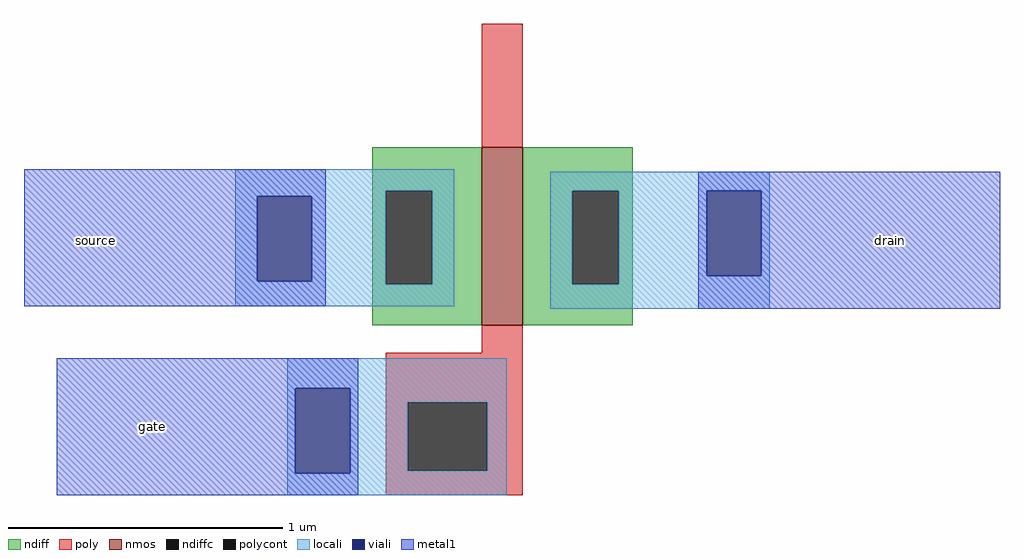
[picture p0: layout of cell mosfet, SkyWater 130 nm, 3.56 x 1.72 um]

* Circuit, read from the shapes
.subckt mosfet drain gate source
XM1 drain gate source VSUBS sky130_fd_pr__nfet_01v8 w=0.65 l=0.15
.ends

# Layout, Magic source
magic
tech sky130A
<< nmos >>
rect 25 160 40 225
<< ndiff >>
rect -15 209 25 225
rect -15 175 -10 209
rect 7 175 25 209
rect -15 160 25 175
rect 40 209 80 225
rect 40 175 58 209
rect 75 175 80 209
rect 40 160 80 175
<< ndiffc >>
rect -10 175 7 209
rect 58 175 75 209
<< poly >>
rect 25 225 40 270
rect 25 150 40 160
rect -10 132 40 150
rect -10 107 -2 132
rect 27 107 40 132
rect -10 98 40 107
<< polycont >>
rect -2 107 27 132
<< locali >>
rect -65 209 15 217
rect -65 207 -10 209
rect -65 176 -57 207
rect -37 176 -10 207
rect -65 175 -10 176
rect 7 175 15 209
rect -65 167 15 175
rect 50 209 130 216
rect 50 175 58 209
rect 75 178 107 209
rect 127 178 130 209
rect 75 175 130 178
rect 50 166 130 175
rect -46 137 34 148
rect -46 106 -43 137
rect -23 132 34 137
rect -23 107 -2 132
rect 27 107 34 132
rect -23 106 34 107
rect -46 98 34 106
<< viali >>
rect -57 176 -37 207
rect 107 178 127 209
rect -43 106 -23 137
<< metal1 >>
rect -142 207 -32 217
rect -142 176 -57 207
rect -37 176 -32 207
rect -142 167 -32 176
rect 104 209 214 216
rect 104 178 107 209
rect 127 178 214 209
rect 104 166 214 178
rect -130 137 -20 148
rect -130 106 -43 137
rect -23 106 -20 137
rect -130 98 -20 106
<< labels >>
rlabel metal1 -127 179 -105 203 1 source
rlabel metal1 163 179 185 203 1 drain
rlabel metal1 -106 111 -84 135 1 gate
<< end >>
